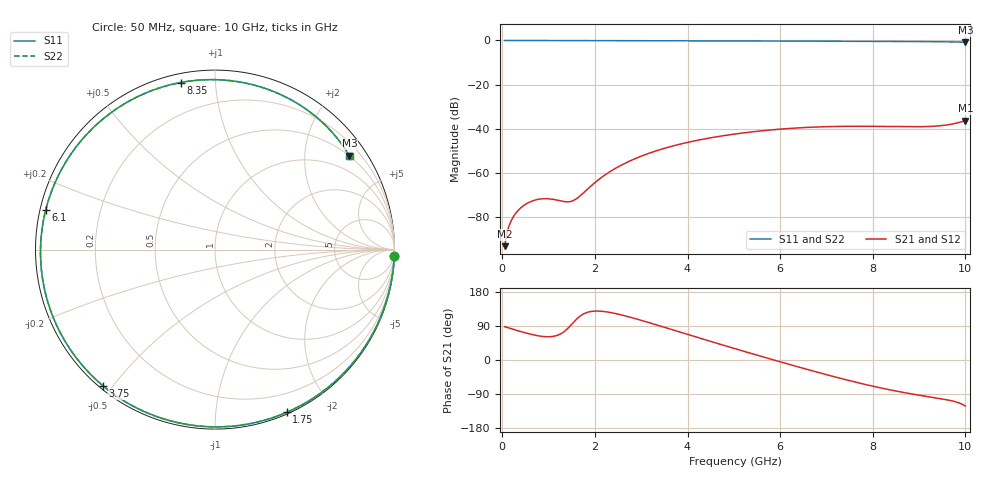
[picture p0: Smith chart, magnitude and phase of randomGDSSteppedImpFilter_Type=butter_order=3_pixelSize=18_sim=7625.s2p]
! freq	dB(S11)	phase(S11)	dB(S12)	phase(S12)
!  dB(S21)	phase(S21)	dB(S22)	phase(S22)
!S-par simulation data
#  GHz  S  DB  R 50
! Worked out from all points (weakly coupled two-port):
!   200 points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, 50 MHz to 10 GHz, reference 50 ohm
!   highest |S21| = -36.43 dB at 10 GHz (marker M1); lowest = -93.4 dB at 50 MHz (marker M2)
!   lowest |S11| = -0.8 dB at 10 GHz (marker M3), VSWR 21.95, Z = 24.8 + j155 ohm
!   |S11| at or under -10 dB: nowhere
!   |S22| runs from -0.8 to 0.0 dB; largest |S21 - S12| = 0
!   S11 on the Smith chart (normalised r, x): 50 MHz: 0, -57; 1.75 GHz: 0.02, -1.53; 3.75 GHz: 0.01, -0.47; 6.1 GHz: 0.02, +0.11; 8.35 GHz: 0.04, +0.81; 10 GHz: 0.50, +3.11
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0.05  -0.00 -2.0  -93.37 88.1  -93.37 88.1  -0.00 -2.0
0.25  -0.02 -9.9  -79.64 80.4  -79.64 80.4  -0.02 -9.9
0.45  -0.03 -17.7  -75.11 73.2  -75.11 73.2  -0.03 -17.7
0.7  -0.04 -27.4  -72.49 65.7  -72.49 65.7  -0.04 -27.4
1  -0.05 -38.8  -71.87 61.3  -71.87 61.3  -0.05 -38.8
1.45  -0.07 -55.5  -73.20 87.8  -73.20 87.8  -0.07 -55.5
1.6  -0.07 -60.9  -71.87 107.3  -71.87 107.3  -0.07 -60.9
1.75  -0.08 -66.2  -69.24 121.2  -69.24 121.2  -0.08 -66.2
2.1  -0.09 -78.3  -62.84 129.0  -62.84 129.0  -0.09 -78.3
2.45  -0.11 -89.9  -57.98 122.4  -57.98 122.4  -0.11 -89.9
3.4  -0.14 -119.3  -49.60 90.1  -49.60 90.1  -0.14 -119.3
3.75  -0.15 -129.5  -47.53 77.0  -47.53 77.0  -0.15 -129.5
4.4  -0.18 -147.6  -44.56 52.7  -44.56 52.7  -0.18 -147.6
5.05  -0.21 -165.1  -42.39 28.9  -42.39 28.9  -0.21 -165.2
6.1  -0.28 166.9  -40.09 -8.2  -40.09 -8.2  -0.28 166.9
6.7  -0.32 150.6  -39.35 -28.8  -39.35 -28.8  -0.32 150.6
7.5  -0.37 127.9  -38.97 -54.6  -38.97 -54.6  -0.37 127.9
8.35  -0.44 101.7  -39.09 -78.3  -39.09 -78.3  -0.44 101.6
8.8  -0.49 86.4  -39.18 -88.7  -39.18 -88.7  -0.49 86.4
9.25  -0.54 69.8  -39.01 -97.8  -39.01 -97.8  -0.54 69.7
9.65  -0.63 52.8  -38.19 -106.1  -38.19 -106.1  -0.63 52.7
10  -0.79 34.9  -36.43 -121.5  -36.43 -121.5  -0.80 34.7
